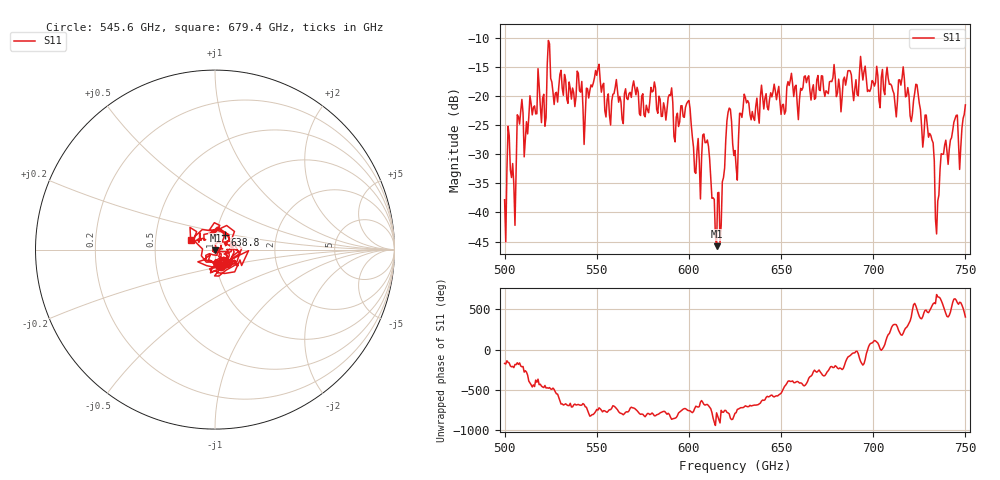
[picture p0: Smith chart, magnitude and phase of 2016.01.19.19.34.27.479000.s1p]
!Created with skrf (http://scikit-rf.org).
# GHz S RI R 50.0
!freq ReS11 ImS11
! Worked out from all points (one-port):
!   401 points, 500 GHz to 750 GHz, reference 50 ohm
!   lowest |S11| = -45.8 dB at 615 GHz (marker M1), VSWR 1.01, Z = 50.2 - j0.465 ohm
!   |S11| at or under -10 dB: start of sweep to end of sweep
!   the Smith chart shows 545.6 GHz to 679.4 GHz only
!   S11 on the Smith chart (normalised r, x): 545.6 GHz: 1.05, -0.19; 638.8 GHz: 1.10, +0.18; 679.4 GHz: 0.76, +0.08
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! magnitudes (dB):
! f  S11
! 500 GHz  -37.8
! 502.5 GHz  -26.8
! 505 GHz  -35.2
! 508.1 GHz  -24.8
! 521.2 GHz  -19.7
! 524.4 GHz  -11.1
! 531.2 GHz  -18.6
! 545.6 GHz  -20.3
! 562.5 GHz  -20.1
! 580.6 GHz  -19.2
! 593.8 GHz  -23.0
! 599.4 GHz  -21.0
! 605 GHz  -27.3
! 609.4 GHz  -28.0
! 615 GHz  -45.8
! 618.1 GHz  -34.7
! 621.9 GHz  -22.1
! 625 GHz  -29.4
! 630.6 GHz  -20.3
! 638.8 GHz  -20.2
! 656.2 GHz  -17.9
! 679.4 GHz  -16.8
! 687.5 GHz  -15.7
! 718.8 GHz  -18.6
! 729.4 GHz  -25.3
! 735 GHz  -38.0
! 738.1 GHz  -30.0
! 750 GHz  -21.5
